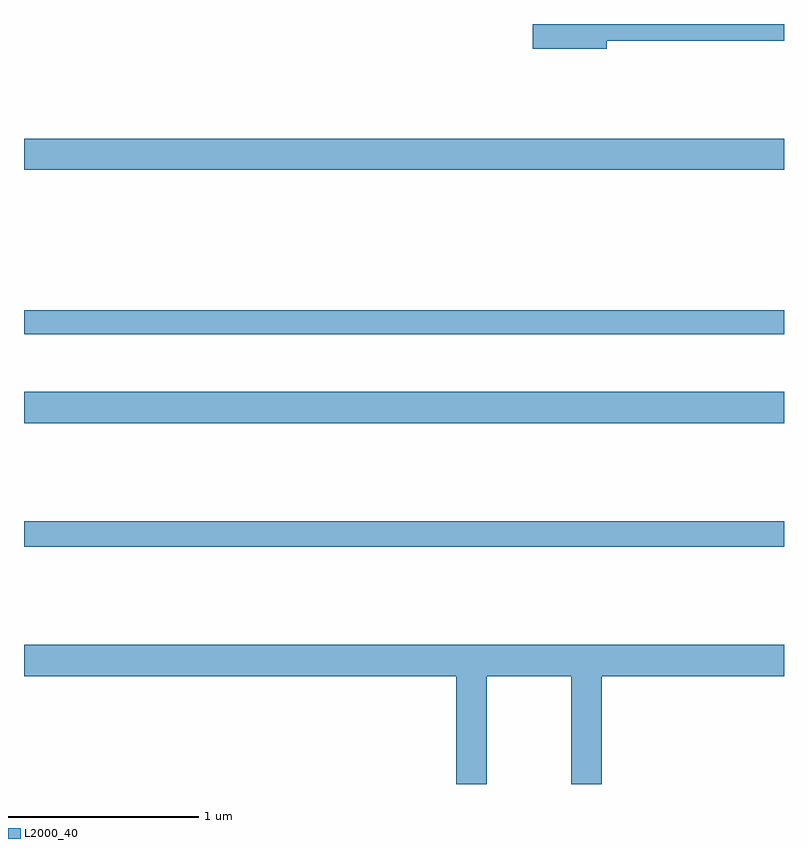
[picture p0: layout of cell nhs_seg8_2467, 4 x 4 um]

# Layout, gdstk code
import gdstk
lib = gdstk.Library(unit=1e-6, precision=1e-09)
def R(c, l, rs):  # rectangles x0, y0, x1, y1
    for r in rs: c.add(gdstk.rectangle(r[:2], r[2:], *l))
def P(c, l, *ps):  # polygons
    for p in ps: c.add(gdstk.Polygon(p, *l))
L2000_40 = (2000, 40)

nhs_seg8_2467 = lib.new_cell('nhs_seg8_2467')
R(nhs_seg8_2467, L2000_40, [(265,1149.148,269,1149.284), (265,1149.8,269,1149.964), (265,1150.266,269,1150.394), (265,1151.132,269,1151.296)])
P(nhs_seg8_2467, L2000_40, [(268.066,1151.812),(269,1151.812),(269,1151.9),(267.678,1151.9),(267.678,1151.77),(268.066,1151.77)],
  [(267.435,1148.468),(267.88,1148.468),(267.88,1147.9),(268.04,1147.9),(268.04,1148.468),(269,1148.468),(269,1148.632),(265,1148.632),(265,1148.468),(267.275,1148.468),(267.275,1147.9),(267.435,1147.9)])

lib.write_gds('nhs_seg8_2467.gds')
